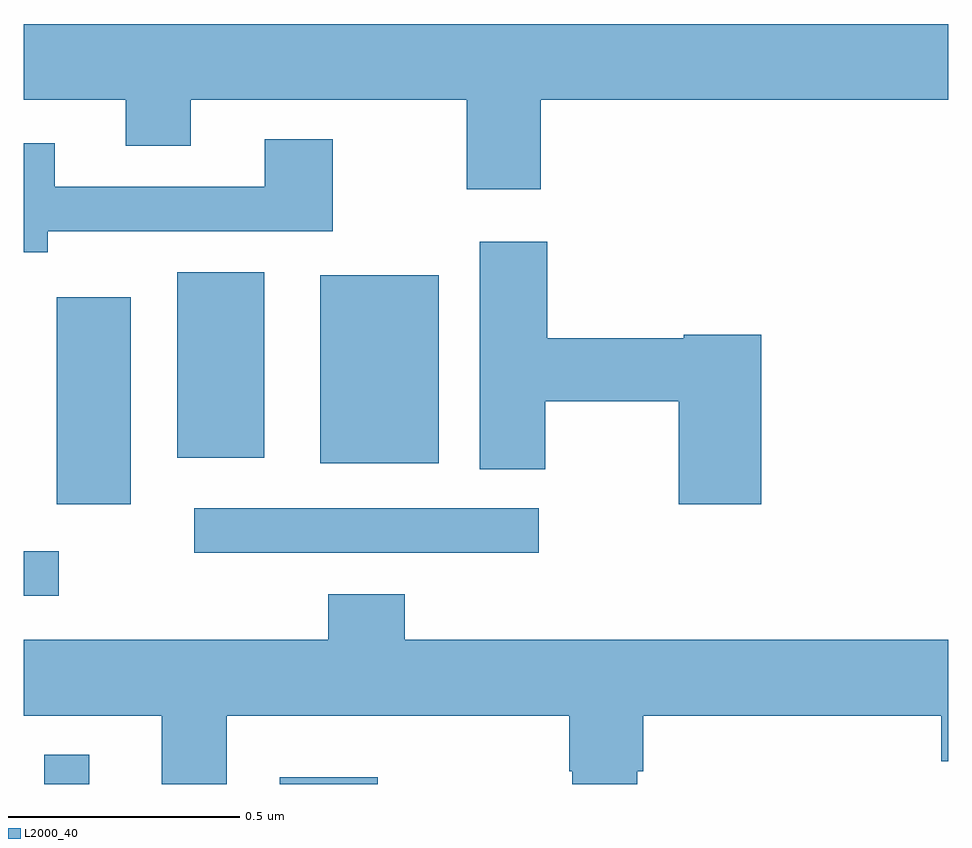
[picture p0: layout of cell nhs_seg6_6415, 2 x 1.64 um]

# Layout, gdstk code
import gdstk
lib = gdstk.Library(unit=1e-6, precision=1e-09)
def R(c, l, rs):  # rectangles x0, y0, x1, y1
    for r in rs: c.add(gdstk.rectangle(r[:2], r[2:], *l))
def P(c, l, *ps):  # polygons
    for p in ps: c.add(gdstk.Polygon(p, *l))
L2000_40 = (2000, 40)

nhs_seg6_6415 = lib.new_cell('nhs_seg6_6415')
R(nhs_seg6_6415, L2000_40, [(195.044,968.5,195.142,968.563), (195.554,968.5,195.766,968.515), (195,968.907,195.076,969.003), (195.369,969,196.114,969.096), (195.071,969.105,195.232,969.553), (195.641,969.194,195.898,969.601), (195.332,969.206,195.52,969.607)])
P(nhs_seg6_6415, L2000_40, [(196.118,969.98),(197,969.98),(197,970.144),(195,970.144),(195,969.98),(195.221,969.98),(195.221,969.881),(195.361,969.881),(195.361,969.98),(195.958,969.98),(195.958,969.786),(196.118,969.786)],
  [(195.052,969.696),(195.669,969.696),(195.669,969.895),(195.521,969.895),(195.521,969.792),(195.067,969.792),(195.067,969.886),(195,969.886),(195,969.65),(195.052,969.65)],
  [(196.595,969.472),(196.428,969.472),(196.428,969.464),(196.133,969.464),(196.133,969.673),(195.986,969.673),(195.986,969.181),(196.128,969.181),(196.128,969.328),(196.417,969.328),(196.417,969.105),(196.595,969.105)],
  [(195.439,968.648),(196.18,968.648),(196.18,968.528),(196.187,968.528),(196.187,968.5),(196.327,968.5),(196.327,968.528),(196.34,968.528),(196.34,968.648),(196.985,968.648),(196.985,968.549),(197,968.549),(197,968.812),(195.824,968.812),(195.824,968.911),(195.659,968.911),(195.659,968.812),(195,968.812),(195,968.648),(195.299,968.648),(195.299,968.5),(195.439,968.5)])

lib.write_gds('nhs_seg6_6415.gds')
